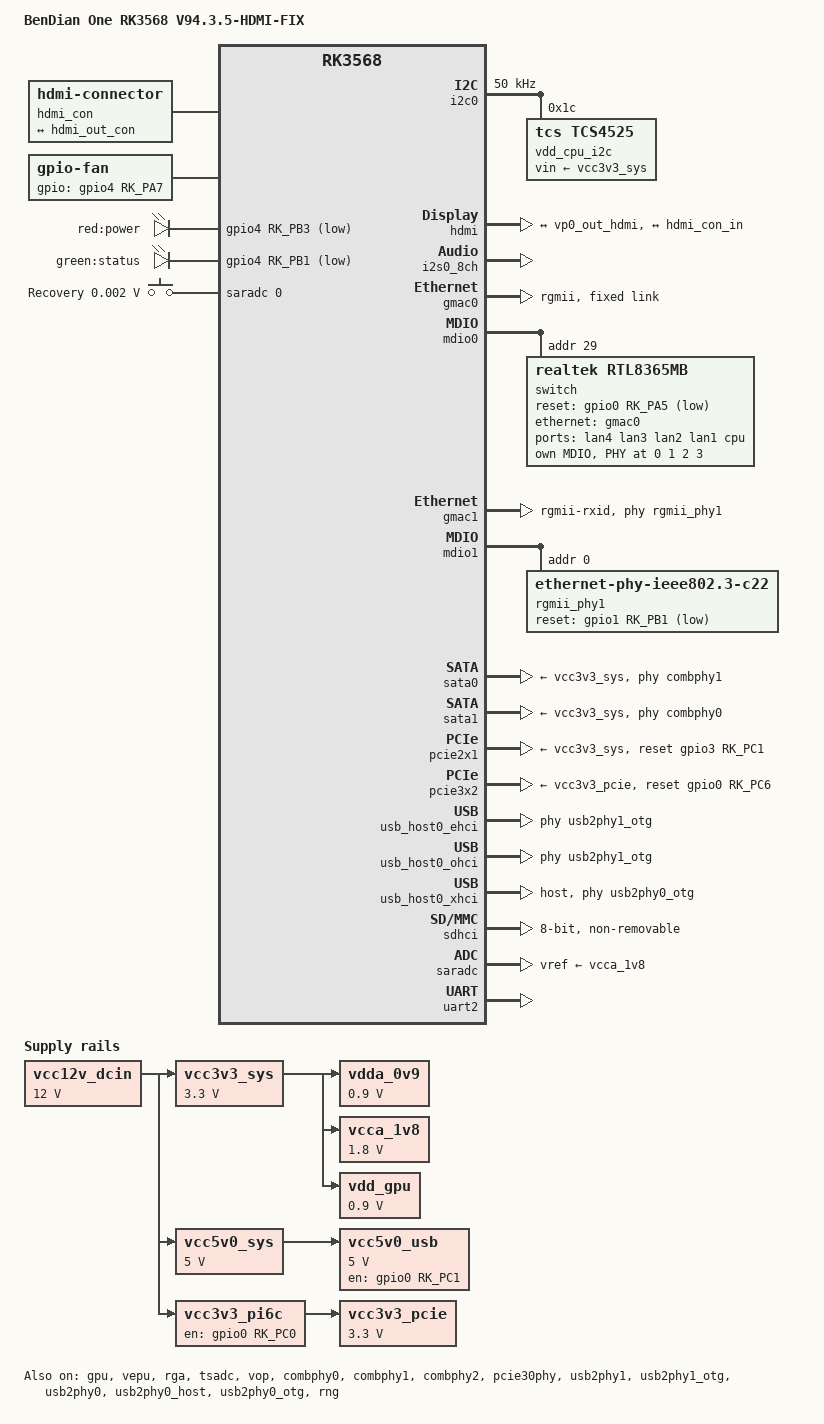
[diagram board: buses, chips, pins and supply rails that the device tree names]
// SPDX-License-Identifier: (GPL-2.0+ OR MIT)
/dts-v1/;

#include <dt-bindings/gpio/gpio.h>
#include <dt-bindings/pwm/pwm.h>
#include <dt-bindings/leds/common.h>
#include <dt-bindings/input/input.h>
#include <dt-bindings/pinctrl/rockchip.h>
#include <dt-bindings/soc/rockchip,vop2.h>
#include <dt-bindings/thermal/thermal.h>
#include <dt-bindings/phy/phy.h>
#include "rk3568.dtsi"

/ {
    model = "BenDian One RK3568 V94.3.5-HDMI-FIX";
    compatible = "bendian,bd-one", "rockchip,rk3568";

    aliases {
        ethernet0 = &gmac0;
        ethernet1 = &gmac1;
        mmc0 = &sdhci;
        serial2 = &uart2;
    };

    chosen {
        stdout-path = "serial2:1500000n8";
    };

    hdmi_sound: hdmi-sound {
        compatible = "simple-audio-card";
        simple-audio-card,name = "HDMI";
        simple-audio-card,format = "i2s";
        simple-audio-card,mclk-fs = <256>;
        status = "okay";
    
        simple-audio-card,cpu {
            sound-dai = <&i2s0_8ch>;
        };
    
        simple-audio-card,codec {
            sound-dai = <&hdmi>;
        };
    };

    /* ✅ HDMI连接器 - 必须在根节点内 */
    hdmi_con: hdmi-con {
        compatible = "hdmi-connector";
        type = "a";
        status = "okay";
        
        port {
            hdmi_con_in: endpoint {
                remote-endpoint = <&hdmi_out_con>;
            };
        };
    };

    /* 电源架构 */
    vcc12v_dcin: vcc12v-dcin {
        compatible = "regulator-fixed";
        regulator-name = "vcc12v_dcin";
        regulator-always-on;
        regulator-boot-on;
        regulator-min-microvolt = <12000000>;
        regulator-max-microvolt = <12000000>;
    };

    vcc3v3_sys: vcc3v3-sys {
        compatible = "regulator-fixed";
        regulator-name = "vcc3v3_sys";
        regulator-always-on;
        regulator-boot-on;
        regulator-min-microvolt = <3300000>;
        regulator-max-microvolt = <3300000>;
        vin-supply = <&vcc12v_dcin>;
    };
    
    vcc5v0_sys: vcc5v0-sys {
        compatible = "regulator-fixed";
        regulator-name = "vcc5v0_sys";
        regulator-always-on;
        regulator-boot-on;
        regulator-min-microvolt = <5000000>;
        regulator-max-microvolt = <5000000>;
        vin-supply = <&vcc12v_dcin>;
    };

    vcc3v3_pi6c: vcc3v3-pi6c {
        compatible = "regulator-fixed";
        regulator-name = "vcc3v3_pi6c";
        enable-active-high;
        gpios = <&gpio0 RK_PC0 GPIO_ACTIVE_HIGH>;
        pinctrl-names = "default";
        pinctrl-0 = <&pcie30_clock_pin>;
        regulator-always-on;
        regulator-boot-on;
        vin-supply = <&vcc12v_dcin>;
        startup-delay-us = <200000>;
    };

    vcc3v3_pcie: vcc3v3-pcie {
        compatible = "regulator-fixed";
        regulator-name = "vcc3v3_pcie";
        regulator-always-on;
        regulator-boot-on;
        regulator-min-microvolt = <3300000>;
        regulator-max-microvolt = <3300000>;
        vin-supply = <&vcc3v3_pi6c>;
    };

    vdda_0v9: vdda-0v9 {
        compatible = "regulator-fixed";
        regulator-name = "vdda_0v9";
        regulator-always-on;
        regulator-boot-on;
        regulator-min-microvolt = <900000>;
        regulator-max-microvolt = <900000>;
        vin-supply = <&vcc3v3_sys>;
    };

    vcca_1v8: vcca-1v8 {
        compatible = "regulator-fixed";
        regulator-name = "vcca_1v8";
        regulator-always-on;
        regulator-boot-on;
        regulator-min-microvolt = <1800000>;
        regulator-max-microvolt = <1800000>;
        vin-supply = <&vcc3v3_sys>;
    };

    vcc5v0_usb: vcc5v0-usb {
        compatible = "regulator-fixed";
        regulator-name = "vcc5v0_usb";
        enable-active-high;
        gpio = <&gpio0 RK_PC1 GPIO_ACTIVE_HIGH>;
        pinctrl-names = "default";
        pinctrl-0 = <&usb_pwr_en>;
        regulator-always-on;
        regulator-boot-on;
        regulator-min-microvolt = <5000000>;
        regulator-max-microvolt = <5000000>;
        vin-supply = <&vcc5v0_sys>;
        startup-delay-us = <1000000>;
        regulator-state-mem {
            regulator-off-in-suspend;
        };
    };

    vdd_gpu: vdd-gpu {
        compatible = "regulator-fixed";
        regulator-name = "vdd_gpu";
        regulator-always-on;
        regulator-boot-on;
        regulator-min-microvolt = <900000>;
        regulator-max-microvolt = <900000>;
        vin-supply = <&vcc3v3_sys>;
    };

    /* 1️⃣ 风扇配置 */
    fan: gpio-fan {
        compatible = "gpio-fan";
        pinctrl-names = "default";
        pinctrl-0 = <&fan_pins>;
        gpios = <&gpio4 RK_PA7 GPIO_ACTIVE_HIGH>;
        gpio-fan,speed-map = <0 0>, <7500 1>;
        #cooling-cells = <2>;
        cooling-min-level = <0>;
        cooling-max-level = <1>;
        status = "okay";
    };

    leds {
        compatible = "gpio-leds";
        pinctrl-names = "default";
        pinctrl-0 = <&led_pins>;

        led-power {
            label = "red:power";
            gpios = <&gpio4 RK_PB3 GPIO_ACTIVE_LOW>;
            default-state = "on";
        };

        led-status {
            label = "green:status";
            gpios = <&gpio4 RK_PB1 GPIO_ACTIVE_LOW>;
            linux,default-trigger = "heartbeat";
        };
    };

    adc_keys: adc-keys {
        compatible = "adc-keys";
        io-channels = <&saradc 0>;
        io-channel-names = "buttons";
        keyup-threshold-microvolt = <1800000>;
        poll-interval = <100>;

        recovery-key {
            label = "Recovery";
            linux,code = <KEY_VENDOR>;
            press-threshold-microvolt = <1750>;
        };
    };
};

/* ✅ GPIO4早期初始化 (放在根节点外面) */
&gpio4 {
    /delete-node/ fan-init-hog;
};

/* ✅ I2C0 - 50kHz */
&i2c0 {
    status = "okay";
    clock-frequency = <50000>;  /* ✅ 稳定的50kHz */
    
    vdd_cpu_i2c: regulator@1c {
        compatible = "tcs,tcs4525";
        reg = <0x1c>;
        fcs,suspend-voltage-selector = <1>;
        regulator-name = "vdd_cpu";
        regulator-always-on;
        regulator-boot-on;
        regulator-init-microvolt = <900000>;
        regulator-min-microvolt = <712500>;
        regulator-max-microvolt = <1390000>;
        regulator-ramp-delay = <2300>;
        regulator-enable-ramp-delay = <1000>;
        regulator-settling-time-us = <150>;
        vin-supply = <&vcc3v3_sys>;
        
        regulator-state-mem {
            regulator-off-in-suspend;
        };
    };
};

&cpu0 { cpu-supply = <&vdd_cpu_i2c>; };
&cpu1 { cpu-supply = <&vdd_cpu_i2c>; };
&cpu2 { cpu-supply = <&vdd_cpu_i2c>; };
&cpu3 { cpu-supply = <&vdd_cpu_i2c>; };

&gpu {
    status = "okay";
    mali-supply = <&vdd_gpu>;
};

&gpu_opp_table {
    /delete-node/ opp-200000000;
    /delete-node/ opp-300000000;
    /delete-node/ opp-400000000;
    /delete-node/ opp-500000000;
    /delete-node/ opp-600000000;
    /delete-node/ opp-700000000;
    /delete-node/ opp-800000000;

    opp-300000000 {
        opp-hz = /bits/ 64 <300000000>;
        opp-microvolt = <900000>;
    };

    opp-400000000 {
        opp-hz = /bits/ 64 <400000000>;
        opp-microvolt = <900000>;
    };

    opp-500000000 {
        opp-hz = /bits/ 64 <500000000>;
        opp-microvolt = <900000>;
    };

    opp-594000000 {
        opp-hz = /bits/ 64 <594000000>;
        opp-microvolt = <900000>;
    };
};

&vepu { status = "okay"; };
&vepu_mmu { status = "okay"; };
&rga {
    status = "okay";
    /delete-property/ iommus;  /* ✅ 删除iommus属性而不是设为空 */
};

&tsadc {
    status = "okay";
    rockchip,hw-tshut-mode = <1>;
    rockchip,hw-tshut-polarity = <0>;
    rockchip,hw-tshut-temp = <95000>;
};

/* 2️⃣ CPU温控 */
&cpu_thermal {
    /delete-node/ trips;
    /delete-node/ cooling-maps;
    
    trips {
        cpu_warm: cpu-warm {
            temperature = <70000>;
            hysteresis = <20000>;
            type = "active";
        };
        cpu_alert0: cpu-alert0 {
            temperature = <75000>;
            hysteresis = <20000>;
            type = "passive";
        };
        cpu_alert1: cpu-alert1 {
            temperature = <85000>;
            hysteresis = <2000>;
            type = "passive";
        };
        cpu_crit: cpu-crit {
            temperature = <95000>;
            hysteresis = <2000>;
            type = "critical";
        };
    };
    
    cooling-maps {
        map0 {
            trip = <&cpu_warm>;
            cooling-device = <&fan 1 1>;
        };
        map1 {
            trip = <&cpu_alert0>;
            cooling-device = <&cpu0 THERMAL_NO_LIMIT 2>,
                             <&cpu1 THERMAL_NO_LIMIT 2>,
                             <&cpu2 THERMAL_NO_LIMIT 2>,
                             <&cpu3 THERMAL_NO_LIMIT 2>;
        };
        map2 {
            trip = <&cpu_alert1>;
            cooling-device = <&cpu0 2 THERMAL_NO_LIMIT>,
                             <&cpu1 2 THERMAL_NO_LIMIT>,
                             <&cpu2 2 THERMAL_NO_LIMIT>,
                             <&cpu3 2 THERMAL_NO_LIMIT>;
        };
    };
};


&gpu_thermal {
    /delete-node/ trips;
    /delete-node/ cooling-maps;

    trips {
        gpu_alert: gpu-alert {
            temperature = <70000>;
            hysteresis = <2000>;
            type = "passive";
        };

        gpu_crit: gpu-crit {
            temperature = <95000>;
            hysteresis = <2000>;
            type = "critical";
        };
    };

    cooling-maps {
        map0 {
            trip = <&gpu_alert>;
            cooling-device = <&gpu THERMAL_NO_LIMIT THERMAL_NO_LIMIT>;
        };
    };
};

/* ✅ 完整的HDMI配置 */
&hdmi {
    status = "okay";
    #sound-dai-cells = <0>;
    avdd-0v9-supply = <&vdda_0v9>;
    avdd-1v8-supply = <&vcca_1v8>;
    pinctrl-names = "default";
    pinctrl-0 = <&hdmitx_scl>, <&hdmitx_sda>, <&hdmitxm0_cec>;
    
    rockchip,phy-table =
        <92812500  0x8009 0x0000 0x0270>,
        <165000000 0x800b 0x0000 0x026d>,
        <185625000 0x800b 0x0000 0x01ed>,
        <297000000 0x8019 0x0000 0x01ad>,
        <594000000 0x8039 0x0000 0x019d>;
    
    /* ✅ 添加ports配置 */
    ports {
        #address-cells = <1>;
        #size-cells = <0>;
        
        hdmi_in: port@0 {
            reg = <0>;
            hdmi_in_vp0: endpoint {
                remote-endpoint = <&vp0_out_hdmi>;
            };
        };
        
        hdmi_out: port@1 {
            reg = <1>;
            hdmi_out_con: endpoint {
                remote-endpoint = <&hdmi_con_in>;
            };
        };
    };
};
    
&hdmi_sound {
    status = "okay";
};

&i2s0_8ch {
    status = "okay";
    #sound-dai-cells = <0>;
    rockchip,playback-channels = <8>;                                        // ← 新增
    rockchip,capture-channels = <8>;                                         // ← 新增
    assigned-clocks = <&cru CLK_I2S0_8CH_TX_SRC>, <&cru CLK_I2S0_8CH_RX_SRC>; // ← 新增
    assigned-clock-rates = <1188000000>, <1188000000>;                       // ← 新增
};

/* ✅ 完整的VOP配置 */
&vop {
    status = "okay";
    assigned-clocks = <&cru DCLK_VOP0>, <&cru DCLK_VOP1>;
    assigned-clock-parents = <&pmucru PLL_HPLL>, <&cru PLL_VPLL>;
    
    /* ✅ 添加这个! */
    ports {
        #address-cells = <1>;
        #size-cells = <0>;
        
        vp0: port@0 {
            reg = <0>;
            #address-cells = <1>;
            #size-cells = <0>;
            
            vp0_out_hdmi: endpoint@0 {
                reg = <0>;
                remote-endpoint = <&hdmi_in_vp0>;
            };
        };
    };
};


&vop_mmu {
    status = "okay";
};

/* 网络 */
&gmac0 {
    status = "okay";
    phy-mode = "rgmii";
    clock_in_out = "output";
    wakeup-source;
    
    assigned-clocks = <&cru SCLK_GMAC0_RX_TX>, <&cru SCLK_GMAC0>;
    assigned-clock-parents = <&cru SCLK_GMAC0_RGMII_SPEED>, <&cru CLK_MAC0_2TOP>;
    assigned-clock-rates = <0>, <125000000>;

    pinctrl-names = "default";
    pinctrl-0 = <&gmac0_miim &gmac0_tx_bus2 &gmac0_rx_bus2 
                 &gmac0_rgmii_clk &gmac0_rgmii_bus>;

    fixed-link {
        speed = <1000>;
        full-duplex;
    };
};

&mdio0 {
    switch@1d {
        compatible = "realtek,rtl8365mb";
        reg = <29>;
        
        reset-gpios = <&gpio0 RK_PA5 GPIO_ACTIVE_LOW>;
        reset-assert-us = <50000>;     /* 从20000改为50000 */
        reset-deassert-us = <200000>;  /* 从100000改为200000 */
        
        interrupt-controller;
        #interrupt-cells = <2>;
        
        /* ✅ 修改MDIO配置,添加内部PHY */
        mdio {
            compatible = "realtek,smi";
            #address-cells = <1>;
            #size-cells = <0>;
            
            /* ✅ 添加4个内部PHY */
            phy0: ethernet-phy@0 {
                reg = <0>;
                compatible = "ethernet-phy-ieee802.3-c22";
            };
            
            phy1: ethernet-phy@1 {
                reg = <1>;
                compatible = "ethernet-phy-ieee802.3-c22";
            };
            
            phy2: ethernet-phy@2 {
                reg = <2>;
                compatible = "ethernet-phy-ieee802.3-c22";
            };
            
            phy3: ethernet-phy@3 {
                reg = <3>;
                compatible = "ethernet-phy-ieee802.3-c22";
            };
        };
        
        ports {
            #address-cells = <1>;
            #size-cells = <0>;

            port@0 {
                reg = <0>;
                label = "lan4";
                phy-mode = "internal";
                phy-handle = <&phy0>;  // ← 添加PHY绑定
            };

            port@1 {
                reg = <1>;
                label = "lan3";
                phy-mode = "internal";
                phy-handle = <&phy1>;  // ← 添加PHY绑定
            };

            port@2 {
                reg = <2>;
                label = "lan2";
                phy-mode = "internal";
                phy-handle = <&phy2>;  // ← 添加PHY绑定
            };

            port@3 {
                reg = <3>;
                label = "lan1";
                phy-mode = "internal";
                phy-handle = <&phy3>;  // ← 添加PHY绑定
            };

            port@7 {
                reg = <7>;
                label = "cpu";
                ethernet = <&gmac0>;
                phy-mode = "rgmii-id";

                fixed-link {
                    speed = <1000>;
                    full-duplex;
                };
            };
        };
    };
};


&gmac1 {
    status = "okay";
    phy-mode = "rgmii-rxid";
    clock_in_out = "output";
    wakeup-source;

    assigned-clocks = <&cru SCLK_GMAC1_RX_TX>, <&cru SCLK_GMAC1>;
    assigned-clock-parents = <&cru SCLK_GMAC1_RGMII_SPEED>;
    assigned-clock-rates = <0>, <125000000>;

    pinctrl-names = "default";
    pinctrl-0 = <&gmac1m0_miim &gmac1m0_tx_bus2 &gmac1m0_rx_bus2 
                 &gmac1m0_rgmii_clk &gmac1m0_rgmii_bus>;

    tx_delay = <0x4f>;
    phy-handle = <&rgmii_phy1>;
};

&mdio1 {
    rgmii_phy1: phy@0 {
        compatible = "ethernet-phy-ieee802.3-c22";
        reg = <0x0>;
        realtek,led-data = <0x17b>;
        /* ✅ 添加PHY复位配置 */
        reset-gpios = <&gpio1 RK_PB1 GPIO_ACTIVE_LOW>;
        reset-assert-us = <50000>;      /* 50ms复位 */
        reset-deassert-us = <500000>;   /* 500ms稳定! */
        
    };
};

/* 存储 */
&combphy0 { status = "okay"; };
&combphy1 { status = "okay"; };
&combphy2 { status = "okay"; };

&sata0 {
    status = "okay";
    ahci-supply = <&vcc3v3_sys>;
    phy-supply = <&vcc3v3_sys>;
    //lpm-pol = <3>;  /* 0=关闭, 3=激进节能 可以删除，✅ 降低待机功耗约0.5W*/
    phys = <&combphy1 PHY_TYPE_SATA>;  // ← 新增
    phy-names = "sata-phy";             // ← 新增
};

&sata1 { 
    status = "okay";
    ahci-supply = <&vcc3v3_sys>;        // ← 新增
    phy-supply = <&vcc3v3_sys>;         // ← 新增
    target-supply = <&vcc3v3_sys>;      // ← 新增
    phys = <&combphy0 PHY_TYPE_SATA>;   // ← 新增
    phy-names = "sata-phy";             // ← 新增
};
&sata2 { status = "disabled"; };

&pcie30phy { status = "okay"; };

/* Watchdog - 保持禁用 */
&wdt { 
    status = "disabled";
};

/* ========== 1. 修复PCIe (解决NVMe崩溃) ========== */
/* PCIe 2.0 x1 (SATA扩展卡) - 保持不变 */
&pcie2x1 {
    reset-gpios = <&gpio3 RK_PC1 GPIO_ACTIVE_HIGH>;
    vpcie3v3-supply = <&vcc3v3_sys>;
    status = "okay";
};

/* PCIe 3.0 x2 (NVMe) - ✅ 修复ranges */
&pcie3x2 {
    reset-gpios = <&gpio0 RK_PC6 GPIO_ACTIVE_HIGH>;
    vpcie3v3-supply = <&vcc3v3_pcie>;
    
    /* ✅ 最终正确配置:完全照搬原机成功的地址映射 */
    ranges = <0x01000000 0x00 0xf0100000 0x00 0xf0100000 0x00 0x00100000>,
             <0x02000000 0x00 0xf0200000 0x00 0xf0200000 0x00 0x01e00000>,
             <0x03000000 0x00 0x40000000 0x03 0x80000000 0x00 0x40000000>;
    
    status = "okay";
};

/* USB */
&usb2phy1 {
    status = "okay";
    clocks = <&pmucru CLK_USBPHY1_REF>;
    clock-names = "phyclk";
    #clock-cells = <0>;
    clock-output-names = "clk_usbphy1_480m";
    rockchip,usbgrf = <&usb2phy1_grf>;
};

&usb2phy1_host {
    status = "disabled";
};

&usb2phy1_otg {
    status = "okay";
    phy-supply = <&vcc5v0_usb>;
    #phy-cells = <0>;
};

&usb_host0_ehci {
    status = "okay";
    compatible = "generic-ehci";
    phys = <&usb2phy1_otg>;
    phy-names = "usb";
    clocks = <&cru HCLK_USB2HOST0>, <&cru HCLK_USB2HOST0_ARB>, <&cru HCLK_USB2HOST0_ARB>;
};

&usb_host0_ohci {
    status = "okay";
    compatible = "generic-ohci";
    phys = <&usb2phy1_otg>;
    phy-names = "usb";
    clocks = <&cru HCLK_USB2HOST0>, <&cru HCLK_USB2HOST0_ARB>, <&cru HCLK_USB2HOST0_ARB>;
};

&usb2phy0 {
    status = "okay";
    clocks = <&pmucru CLK_USBPHY0_REF>;
    clock-names = "phyclk";
    #clock-cells = <0>;
    clock-output-names = "clk_usbphy0_480m";
    rockchip,usbgrf = <&usb2phy0_grf>;
};

&usb2phy0_host {
    status = "okay";
    phy-supply = <&vcc5v0_usb>;
};

&usb2phy0_otg {
    status = "okay";
    phy-supply = <&vcc5v0_usb>;
};

&usb_host0_xhci {
    status = "okay";
    dr_mode = "host";
    phys = <&usb2phy0_otg>, <&usb2phy0_host>;
    phy-names = "usb2-phy", "usb2-phy";
    maximum-speed = "high-speed";
};

&sdhci {
    bus-width = <8>;
    max-frequency = <200000000>;
    supports-emmc;
    non-removable;
    mmc-hs200-1_8v;
    status = "okay";
};

&saradc {
    status = "okay";
    vref-supply = <&vcca_1v8>;
};

&uart2 { status = "okay"; };

&pwm0 { 
    status = "disabled";
    /delete-property/ pinctrl-names;
    /delete-property/ pinctrl-0;
};

&pwm1 { 
    status = "disabled";
    /delete-property/ pinctrl-names;
    /delete-property/ pinctrl-0;
};
&rng { status = "okay"; };

&pmu_io_domains {
    status = "okay";
    pmuio1-supply = <&vcc3v3_sys>;
    pmuio2-supply = <&vcc3v3_sys>;
    vccio1-supply = <&vcc3v3_sys>;
    vccio2-supply = <&vcca_1v8>;
    vccio3-supply = <&vcc3v3_sys>;
    vccio4-supply = <&vcc3v3_sys>;
    vccio5-supply = <&vcc3v3_sys>;
    vccio6-supply = <&vcc3v3_sys>;
    vccio7-supply = <&vcc3v3_sys>;
};

/* ✅ Pinctrl */
&pinctrl {
    /delete-node/ pwm0;
    /delete-node/ pwm1;
    
    pcie {
        pcie30_clock_pin: pcie30-clock-pin {
            rockchip,pins = <0 RK_PC0 RK_FUNC_GPIO &pcfg_pull_none>;
        };

        pcie30_pwr_pin: pcie30-pwr-pin {
            rockchip,pins = <0 RK_PC6 RK_FUNC_GPIO &pcfg_pull_none>;
        };
    };

    usb {
        usb_pwr_en: usb-pwr-en {
            rockchip,pins = <0 RK_PC1 RK_FUNC_GPIO &pcfg_pull_down>;
        };
    };
    
    fan {
        fan_pins: fan-pins {
            rockchip,pins = <4 RK_PA7 RK_FUNC_GPIO &pcfg_pull_down>;  /* pull_down */
        };
    };

    /delete-node/ pcfg_output_low;

    leds {
        led_pins: led-pins {
            rockchip,pins = <4 RK_PB3 RK_FUNC_GPIO &pcfg_pull_none>,
                            <4 RK_PB1 RK_FUNC_GPIO &pcfg_pull_none>;
        };
    };

    pmic {
        pmic_int: pmic-int {
            rockchip,pins = <0 RK_PA3 RK_FUNC_GPIO &pcfg_pull_up>;
        };
    };
};
